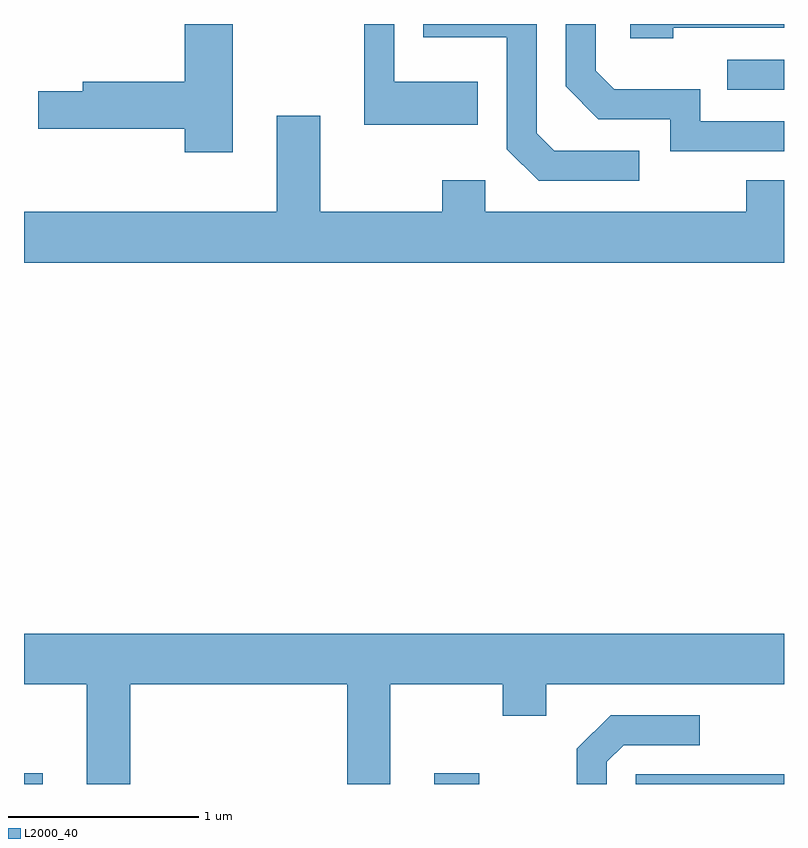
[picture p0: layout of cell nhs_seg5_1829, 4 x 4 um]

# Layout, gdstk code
import gdstk
lib = gdstk.Library(unit=1e-6, precision=1e-09)
def R(c, l, rs):  # rectangles x0, y0, x1, y1
    for r in rs: c.add(gdstk.rectangle(r[:2], r[2:], *l))
def P(c, l, *ps):  # polygons
    for p in ps: c.add(gdstk.Polygon(p, *l))
L2000_40 = (2000, 40)

nhs_seg5_1829 = lib.new_cell('nhs_seg5_1829')
R(nhs_seg5_1829, L2000_40, [(239.611,1434.072,239.709,1434.129), (241.771,1434.072,242.008,1434.129), (242.831,1434.072,243.611,1434.124), (243.313,1437.726,243.611,1437.884)])
P(nhs_seg5_1829, L2000_40, [(240.709,1438.072),(240.456,1438.072),(240.456,1437.769),(239.921,1437.769),(239.921,1437.719),(239.686,1437.719),(239.686,1437.521),(240.456,1437.521),(240.456,1437.396),(240.709,1437.396)],
  [(242.848,1437.404),(242.402,1437.404),(242.309,1437.497),(242.309,1438.072),(241.711,1438.072),(241.711,1438.001),(242.151,1438.001),(242.151,1437.414),(242.319,1437.246),(242.848,1437.246)],
  [(243.029,1438.051),(243.611,1438.051),(243.611,1438.072),(242.801,1438.072),(242.801,1437.996),(243.029,1437.996)],
  [(241.999,1437.769),(241.559,1437.769),(241.559,1438.072),(241.401,1438.072),(241.401,1437.541),(241.999,1437.541)],
  [(243.611,1437.559),(243.169,1437.559),(243.169,1437.729),(242.717,1437.729),(242.619,1437.827),(242.619,1438.072),(242.461,1438.072),(242.461,1437.744),(242.634,1437.571),(243.011,1437.571),(243.011,1437.401),(243.611,1437.401)],
  [(243.611,1437.249),(243.411,1437.249),(243.411,1437.084),(242.039,1437.084),(242.039,1437.249),(241.811,1437.249),(241.811,1437.084),(241.169,1437.084),(241.169,1437.589),(240.941,1437.589),(240.941,1437.084),(239.611,1437.084),(239.611,1436.816),(243.611,1436.816)],
  [(240.169,1434.596),(241.311,1434.596),(241.311,1434.072),(241.539,1434.072),(241.539,1434.596),(242.131,1434.596),(242.131,1434.431),(242.359,1434.431),(242.359,1434.596),(243.611,1434.596),(243.611,1434.864),(239.611,1434.864),(239.611,1434.596),(239.941,1434.596),(239.941,1434.072),(240.169,1434.072)],
  [(242.679,1434.189),(242.767,1434.276),(243.168,1434.276),(243.168,1434.434),(242.699,1434.434),(242.521,1434.257),(242.521,1434.072),(242.679,1434.072)])

lib.write_gds('nhs_seg5_1829.gds')
